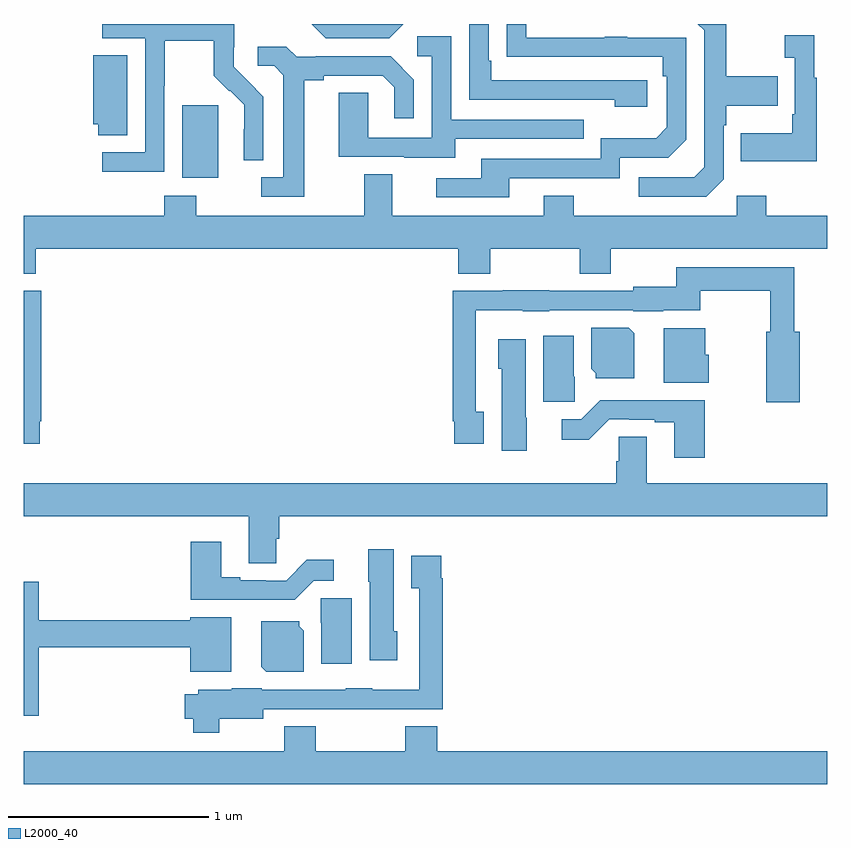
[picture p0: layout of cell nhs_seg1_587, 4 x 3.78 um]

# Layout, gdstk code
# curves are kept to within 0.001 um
import gdstk
lib = gdstk.Library(unit=1e-6, precision=1e-09)
def R(c, l, rs):  # rectangles x0, y0, x1, y1
    for r in rs: c.add(gdstk.rectangle(r[:2], r[2:], *l))
def P(c, l, *ps):  # polygons
    for p in ps: c.add(gdstk.Polygon(p, *l))
L2000_40 = (2000, 40)

nhs_seg1_587 = lib.new_cell('nhs_seg1_587')
R(nhs_seg1_587, L2000_40, [(143.789,537.434,143.968,537.795)])
P(nhs_seg1_587, L2000_40, [(145.417,537.432),(145.968,537.432),(145.968,537.534),(146.208,537.534),(146.298,537.624),(146.298,538.131),(146.003,538.131),(146.003,538.136),(145.891,538.136),(145.891,538.131),(145.501,538.131),(145.501,538.199),(145.405,538.199),(145.405,538.036),(146.182,538.035),(146.182,537.938),(146.202,537.938),(146.202,537.684),(146.149,537.631),(145.872,537.631),(145.872,537.528),(145.277,537.528),(145.277,537.432),(145.053,537.432),(145.053,537.336),(145.417,537.336)],
  [(146.104,537.918),(145.327,537.918),(145.327,538.015),(145.314,538.015),(145.314,538.199),(145.218,538.199),(145.218,537.822),(145.943,537.822),(145.943,537.788),(146.104,537.788)],
  [(144.89,538.199),(144.433,538.199),(144.504,538.128),(144.819,538.128)],
  [(143.7,537.892),(143.703,537.892),(143.703,538.116),(143.947,538.116),(143.947,537.941),(144.024,537.864),(144.027,537.867),(144.098,537.797),(144.098,537.674),(144.096,537.674),(144.096,537.52),(144.192,537.52),(144.192,537.838),(144.046,537.986),(144.046,538.083),(144.048,538.083),(144.048,538.199),(143.391,538.199),(143.391,538.128),(143.604,538.128),(143.604,537.561),(143.391,537.561),(143.391,537.463),(143.7,537.463)],
  [(146.484,537.426),(146.484,537.695),(146.497,537.695),(146.497,537.791),(146.753,537.791),(146.753,537.939),(146.497,537.939),(146.497,538.199),(146.356,538.199),(146.388,538.167),(146.388,537.486),(146.337,537.435),(146.061,537.435),(146.061,537.339),(146.397,537.339)],
  [(146.947,537.931),(146.935,537.931),(146.935,538.144),(146.787,538.144),(146.787,538.031),(146.838,538.031),(146.838,537.751),(146.826,537.751),(146.826,537.655),(146.569,537.655),(146.569,537.515),(146.947,537.515)],
  [(145.147,537.627),(145.787,537.627),(145.787,537.723),(145.128,537.723),(145.128,538.139),(144.96,538.139),(144.96,538.038),(145.032,538.038),(145.032,537.633),(144.714,537.633),(144.714,537.857),(144.569,537.857),(144.569,537.537),(144.893,537.537),(144.893,537.533),(145.147,537.533)],
  [(144.397,537.92),(144.493,537.92),(144.493,537.942),(144.788,537.942),(144.845,537.885),(144.845,537.729),(144.942,537.729),(144.942,537.922),(144.826,538.038),(144.454,538.038),(144.454,538.035),(144.36,538.035),(144.308,538.087),(144.165,538.087),(144.165,537.99),(144.246,537.99),(144.293,537.943),(144.293,537.435),(144.183,537.435),(144.183,537.339),(144.397,537.339)],
  [(143.515,538.043),(143.345,538.043),(143.345,537.699),(143.372,537.699),(143.372,537.646),(143.515,537.646)],
  [(143.06,537.08),(145.163,537.08),(145.163,536.956),(145.323,536.956),(145.323,537.08),(145.768,537.08),(145.768,536.956),(145.923,536.956),(145.923,537.08),(147,537.08),(147,537.244),(146.697,537.244),(146.697,537.343),(146.55,537.343),(146.55,537.244),(145.737,537.244),(145.737,537.343),(145.589,537.343),(145.589,537.244),(144.835,537.244),(144.835,537.452),(144.695,537.452),(144.695,537.244),(143.859,537.244),(143.859,537.343),(143.699,537.343),(143.699,537.244),(143,537.244),(143,536.956),(143.06,536.956)],
  [(145.291,536.27),(145.251,536.27),(145.251,536.774),(145.485,536.774),(145.485,536.768),(145.617,536.768),(145.617,536.775),(146.034,536.775),(146.034,536.768),(146.184,536.768),(146.184,536.774),(146.368,536.774),(146.368,536.872),(146.715,536.872),(146.715,536.668),(146.696,536.668),(146.696,536.316),(146.862,536.316),(146.862,536.668),(146.836,536.668),(146.836,536.988),(146.247,536.988),(146.247,536.89),(146.034,536.89),(146.034,536.871),(145.617,536.871),(145.617,536.873),(145.385,536.873),(145.385,536.871),(145.135,536.871),(145.135,536.221),(145.143,536.221),(145.143,536.109),(145.291,536.109)],
  [(143.08,536.221),(143.087,536.221),(143.087,536.871),(143,536.871),(143,536.109),(143.08,536.109)],
  [(146.038,536.66),(146.012,536.686),(145.826,536.686),(145.826,536.482),(145.848,536.46),(145.848,536.435),(146.038,536.435)],
  [(146.41,536.553),(146.392,536.553),(146.392,536.684),(146.186,536.684),(146.186,536.414),(146.41,536.414)],
  [(145.742,536.442),(145.738,536.442),(145.738,536.647),(145.586,536.647),(145.586,536.319),(145.742,536.319)],
  [(145.504,536.238),(145.498,536.238),(145.498,536.629),(145.361,536.629),(145.361,536.484),(145.379,536.484),(145.379,536.076),(145.504,536.076)],
  [(146.39,536.326),(145.87,536.326),(145.776,536.232),(145.677,536.232),(145.677,536.13),(145.812,536.13),(145.914,536.232),(146.014,536.232),(146.014,536.229),(146.141,536.229),(146.141,536.217),(146.237,536.217),(146.237,536.04),(146.39,536.04)],
  [(144.258,535.638),(144.272,535.638),(144.272,535.748),(147,535.748),(147,535.912),(146.101,535.912),(146.101,536.144),(145.962,536.144),(145.962,536.022),(145.949,536.022),(145.949,535.912),(143,535.912),(143,535.748),(144.119,535.748),(144.119,535.516),(144.258,535.516)],
  [(144.444,535.428),(144.544,535.428),(144.544,535.531),(144.409,535.531),(144.306,535.428),(144.206,535.428),(144.206,535.431),(144.079,535.431),(144.079,535.444),(143.983,535.444),(143.983,535.621),(143.831,535.621),(143.831,535.334),(144.35,535.334)],
  [(144.859,535.176),(144.841,535.176),(144.841,535.585),(144.716,535.585),(144.716,535.422),(144.722,535.422),(144.722,535.032),(144.859,535.032)],
  [(143.974,534.74),(144.193,534.74),(144.193,534.789),(144.603,534.789),(144.603,534.788),(144.835,534.788),(144.835,534.789),(145.085,534.789),(145.085,535.439),(145.078,535.439),(145.078,535.552),(144.929,535.552),(144.929,535.391),(144.969,535.391),(144.969,534.886),(144.735,534.886),(144.735,534.892),(144.603,534.892),(144.603,534.885),(144.186,534.885),(144.186,534.892),(144.036,534.892),(144.036,534.886),(143.868,534.886),(143.868,534.862),(143.801,534.862),(143.801,534.74),(143.845,534.74),(143.845,534.671),(143.974,534.671)],
  [(143.075,535.096),(143.828,535.096),(143.828,534.974),(144.034,534.974),(144.034,535.246),(143.828,535.246),(143.828,535.232),(143.075,535.232),(143.075,535.423),(143,535.423),(143,534.756),(143.075,534.756)],
  [(144.634,535.341),(144.478,535.341),(144.478,535.218),(144.482,535.218),(144.482,535.014),(144.634,535.014)],
  [(144.394,535.178),(144.372,535.2),(144.372,535.225),(144.182,535.225),(144.182,535),(144.208,534.974),(144.394,534.974)],
  [(147,534.58),(145.058,534.58),(145.058,534.704),(144.898,534.704),(144.898,534.58),(144.453,534.58),(144.453,534.704),(144.298,534.704),(144.298,534.58),(143,534.58),(143,534.416),(147,534.416)])

lib.write_gds('nhs_seg1_587.gds')
